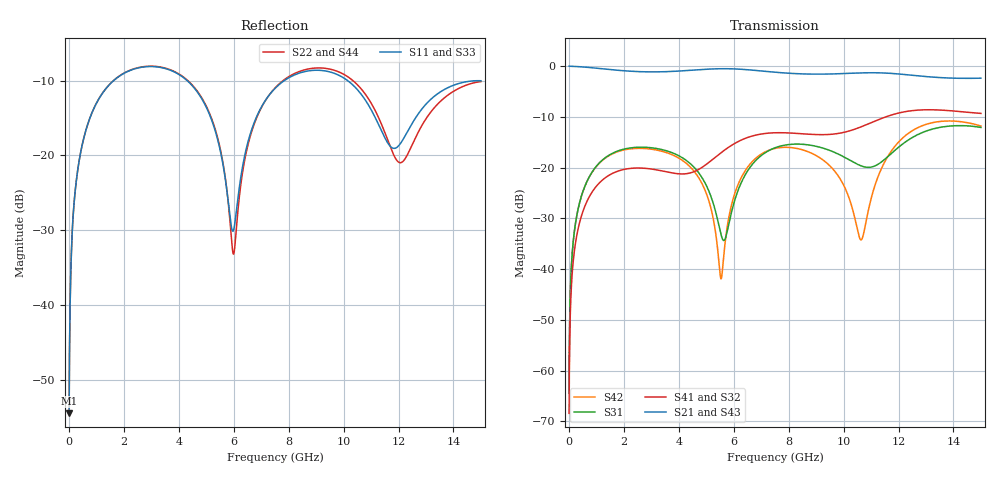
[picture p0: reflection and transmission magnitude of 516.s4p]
! Created with skrf 1.8.0 (http://scikit-rf.org).
# GHz S RI R 50.0
!freq ReS11 ImS11 ReS12 ImS12 ReS13 ImS13
! ReS14 ImS14
! ReS21 ImS21 ReS22 ImS22 ReS23 ImS23
! ReS24 ImS24
! ReS31 ImS31 ReS32 ImS32 ReS33 ImS33
! ReS34 ImS34
! ReS41 ImS41 ReS42 ImS42 ReS43 ImS43
! ReS44 ImS44
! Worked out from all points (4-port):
!   2499 points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, 5 MHz to 15 GHz, reference 50 ohm
!   strongest paths, dB at 5 MHz, 3.476 GHz, 7.19 GHz, 11.1 GHz, 15 GHz:
!     S21: 0.0, -1.1, -1.1, -1.3, -2.4
!     S43: 0.0, -1.1, -1.0, -1.3, -2.4
!     S41: -68.4, -20.7, -13.2, -10.9, -9.3
!     S32: -68.4, -20.7, -13.3, -10.9, -9.3
!     S31: -64.4, -16.6, -16.9, -19.8, -12.1
!     S42: -64.4, -16.9, -16.8, -24.3, -11.8
!   lowest |S11| = -54.5 dB at 5 MHz (marker M1), VSWR 1.00, Z = 50.2 + j0.115 ohm
!   |S11| at or under -10 dB: start of sweep to 1.629 GHz; 4.3 GHz to 7.846 GHz (3.545 GHz wide, 58.4 % of centre); 10.14 GHz to end of sweep
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0.005  0.0015 0.00114  0.9985 -0.00293  7.51e-05 0.000596  -7.29e-05 -0.000373
       0.9985 -0.00293  0.0015 0.00114  -7.29e-05 -0.000373  7.5e-05 0.000596
       7.51e-05 0.000596  -7.29e-05 -0.000373  0.0015 0.00114  0.9985 -0.00293
       -7.29e-05 -0.000373  7.5e-05 0.000596  0.9985 -0.00293  0.0015 0.00114
0.3126303  0.0207 0.0757  0.9718 -0.1826  0.00959 0.0356  -0.00782 -0.0222
           0.9718 -0.1826  0.0208 0.0757  -0.00782 -0.0222  0.00917 0.0357
           0.00959 0.0356  -0.00782 -0.0222  0.0207 0.0757  0.9718 -0.1826
           -0.00782 -0.0222  0.00917 0.0357  0.9718 -0.1826  0.0208 0.0757
1.519383  0.2366 0.189  0.6173 -0.6867  0.1181 0.0665  -0.0842 -0.0171
          0.6173 -0.6867  0.2383 0.1881  -0.0842 -0.0171  0.1125 0.0729
          0.1181 0.0665  -0.0842 -0.0171  0.2366 0.189  0.6173 -0.6867
          -0.0842 -0.0171  0.1125 0.0729  0.6173 -0.6867  0.2383 0.1881
5.802418  0.0335 -0.0351  -0.9291 -0.1544  -0.0154 0.0214  -0.0227 0.1564
          -0.9291 -0.1544  0.0245 -0.0412  -0.0222 0.1565  0.00944 0.0289
          -0.0154 0.0214  -0.0222 0.1565  0.0353 -0.0355  -0.929 -0.1548
          -0.0227 0.1564  0.00944 0.0289  -0.929 -0.1548  0.023 -0.0421
9.297624  0.3664 -0.0276  0.0224 0.8337  0.0989 -0.1184  0.2043 -0.0539
          0.0224 0.8337  0.38 -0.0409  0.2038 -0.0542  0.1015 -0.0567
          0.0989 -0.1184  0.2038 -0.0542  0.3639 -0.0304  0.0223 0.8347
          0.2043 -0.0539  0.1015 -0.0567  0.0223 0.8347  0.3778 -0.0377
10.63568  0.2174 -0.1367  0.5514 0.6561  -0.0672 -0.0795  0.1899 -0.1658
          0.5514 0.6561  0.221 -0.17  0.1895 -0.166  -0.0163 -0.0106
          -0.0672 -0.0795  0.1895 -0.166  0.2135 -0.137  0.5523 0.6564
          0.1899 -0.1658  -0.0163 -0.0106  0.5523 0.6564  0.2202 -0.1662
15  0.3125 -0.0408  0.1953 -0.7348  0.2373 -0.0752  -0.3419 0.00895
    0.1953 -0.7348  0.3105 -0.0201  -0.3425 0.0108  0.25 -0.0588
    0.2373 -0.0752  -0.3425 0.0108  0.3085 -0.0402  0.1959 -0.7359
    -0.3419 0.00895  0.25 -0.0588  0.1959 -0.7359  0.3076 -0.0212
